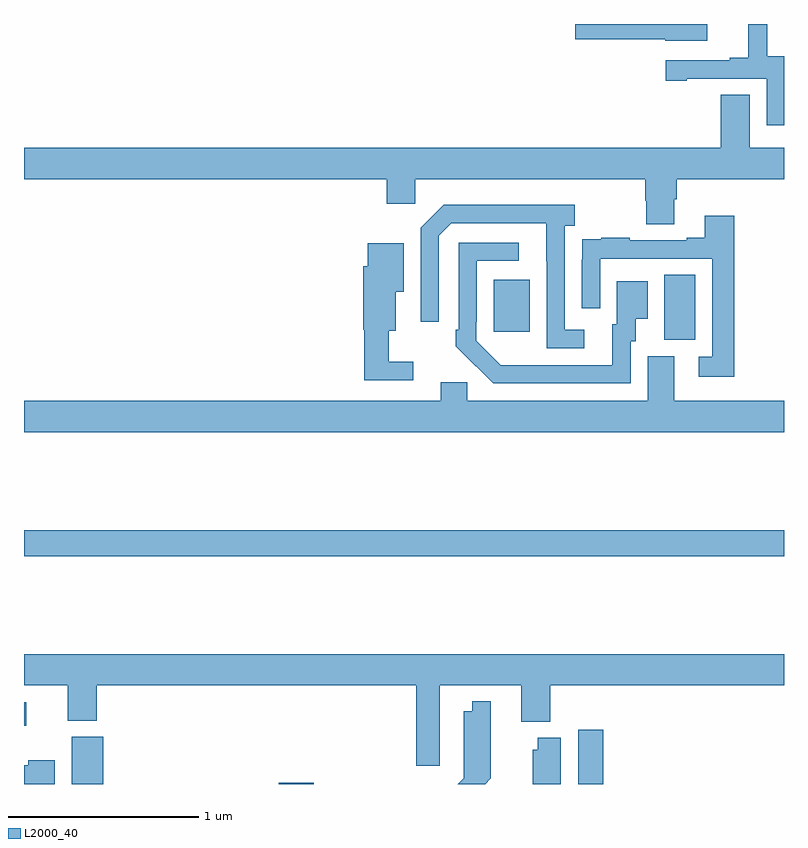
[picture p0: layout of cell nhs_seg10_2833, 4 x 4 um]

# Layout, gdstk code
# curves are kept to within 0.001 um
import gdstk
lib = gdstk.Library(unit=1e-6, precision=1e-09)
def R(c, l, rs):  # rectangles x0, y0, x1, y1
    for r in rs: c.add(gdstk.rectangle(r[:2], r[2:], *l))
def P(c, l, *ps):  # polygons
    for p in ps: c.add(gdstk.Polygon(p, *l))
L2000_40 = (2000, 40)

nhs_seg10_2833 = lib.new_cell('nhs_seg10_2833')
R(nhs_seg10_2833, L2000_40, [(265.25,1262.5,265.418,1262.748), (266.342,1262.5,266.525,1262.506), (267.917,1262.5,268.049,1262.785), (265,1262.807,265.012,1262.929), (265,1263.7,269,1263.836), (268.37,1264.837,268.534,1265.18), (267.473,1264.881,267.661,1265.155)])
P(nhs_seg10_2833, L2000_40, [(269,1266.329),(268.911,1266.329),(268.911,1266.5),(268.811,1266.5),(268.811,1266.322),(268.715,1266.322),(268.715,1266.309),(268.377,1266.309),(268.377,1266.201),(268.489,1266.201),(268.489,1266.213),(268.908,1266.213),(268.908,1265.967),(269,1265.967)],
  [(268.597,1266.5),(267.9,1266.5),(267.9,1266.419),(268.374,1266.419),(268.374,1266.413),(268.597,1266.413)],
  [(268.423,1265.578),(268.436,1265.578),(268.436,1265.684),(269,1265.684),(269,1265.848),(268.819,1265.848),(268.819,1266.128),(268.667,1266.128),(268.667,1265.848),(265,1265.848),(265,1265.684),(266.909,1265.684),(266.909,1265.553),(267.06,1265.553),(267.06,1265.684),(268.271,1265.684),(268.271,1265.571),(268.276,1265.571),(268.276,1265.446),(268.423,1265.446)],
  [(267.949,1264.89),(267.846,1264.89),(267.846,1265.438),(267.898,1265.438),(267.898,1265.548),(267.208,1265.548),(267.087,1265.427),(267.087,1264.932),(267.183,1264.932),(267.183,1265.385),(267.249,1265.451),(267.749,1265.451),(267.75,1264.794),(267.949,1264.794)],
  [(268.739,1265.491),(268.583,1265.491),(268.583,1265.374),(268.487,1265.374),(268.487,1265.361),(268.187,1265.361),(268.187,1265.374),(268.039,1265.374),(268.039,1265.367),(267.937,1265.367),(267.937,1265.258),(267.936,1265.258),(267.936,1265.004),(268.032,1265.004),(268.032,1265.265),(268.623,1265.265),(268.623,1264.749),(268.551,1264.749),(268.551,1264.644),(268.739,1264.644)],
  [(268.194,1264.83),(268.219,1264.83),(268.219,1264.949),(268.282,1264.949),(268.282,1265.146),(268.121,1265.146),(268.121,1264.92),(268.097,1264.92),(268.097,1264.704),(267.51,1264.705),(267.381,1264.833),(267.381,1264.933),(267.384,1264.933),(267.384,1265.253),(267.604,1265.253),(267.604,1265.349),(267.288,1265.349),(267.288,1264.891),(267.273,1264.891),(267.273,1264.803),(267.47,1264.608),(268.194,1264.608)],
  [(267.049,1264.723),(266.92,1264.723),(266.92,1264.886),(266.956,1264.886),(266.956,1265.09),(266.998,1265.09),(266.998,1265.347),(266.81,1265.347),(266.81,1265.226),(266.786,1265.226),(266.786,1264.89),(266.791,1264.89),(266.791,1264.626),(267.049,1264.626)],
  [(269,1264.516),(268.423,1264.516),(268.423,1264.752),(268.283,1264.752),(268.283,1264.516),(267.333,1264.516),(267.333,1264.614),(267.194,1264.614),(267.194,1264.516),(265,1264.516),(265,1264.352),(269,1264.352)],
  [(267.187,1263.02),(267.617,1263.02),(267.617,1262.828),(267.77,1262.828),(267.77,1263.02),(269,1263.02),(269,1263.184),(265,1263.184),(265,1263.02),(265.229,1263.02),(265.229,1262.833),(265.382,1262.833),(265.382,1263.02),(267.065,1263.02),(267.065,1262.595),(267.187,1262.595)],
  [(267.457,1262.53),(267.457,1262.632),(267.456,1262.632),(267.456,1262.935),(267.359,1262.935),(267.359,1262.884),(267.314,1262.884),(267.314,1262.53),(267.284,1262.5),(267.427,1262.5)],
  [(267.826,1262.743),(267.704,1262.743),(267.704,1262.679),(267.677,1262.679),(267.677,1262.5),(267.826,1262.5)],
  [(265.162,1262.626),(265.023,1262.626),(265.023,1262.599),(265,1262.599),(265,1262.5),(265.162,1262.5)])

lib.write_gds('nhs_seg10_2833.gds')
